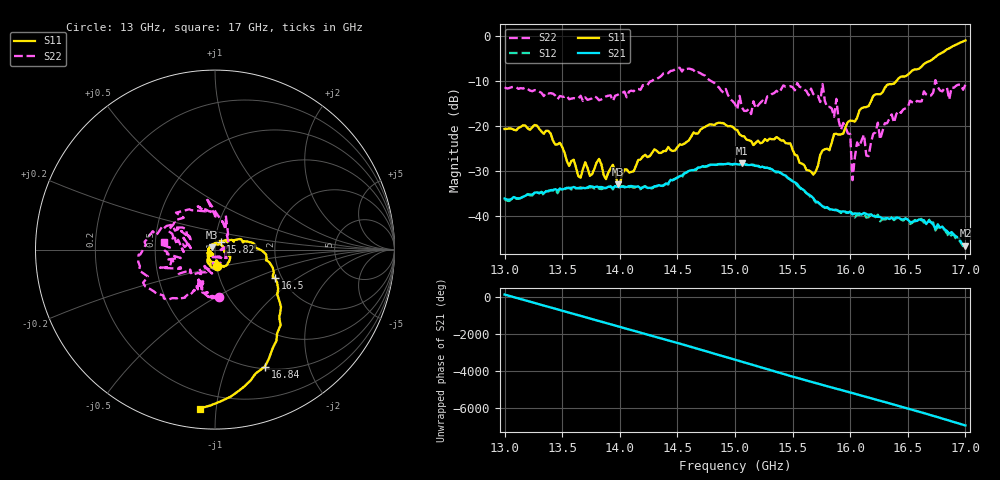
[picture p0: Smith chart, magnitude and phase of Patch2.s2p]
!Keysight Technologies,P9374A,MY57211810,A.19.30.04
!Date: Friday, May 09, 2025 09:01:41
!Correction: S11(Cdelta 2-Port  )
!S21(Cdelta 2-Port  )
!S12(Cdelta 2-Port  )
!S22(Cdelta 2-Port  )
!S2P File: Measurements: S11, S21, S12, S22:
# Hz S  dB  R 50
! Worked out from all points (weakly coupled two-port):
!   201 points, 13 GHz to 17 GHz, reference 50 ohm
!   highest |S21| = -28.35 dB at 15.06 GHz (marker M1); lowest = -46.6 dB at 17 GHz (marker M2)
!   lowest |S11| = -33.0 dB at 13.98 GHz (marker M3), VSWR 1.05, Z = 48.1 + j1.19 ohm
!   |S11| at or under -10 dB: start of sweep to 16.4 GHz
!   |S22| runs from -32.1 to -7.1 dB; largest |S21 - S12| = 0.0018
!   S11 on the Smith chart (normalised r, x): 13 GHz: 1.00, -0.19; 15.82 GHz: 1.06, +0.09; 16.5 GHz: 1.84, -0.67; 16.84 GHz: 0.53, -1.38; 17 GHz: 0.11, -0.90
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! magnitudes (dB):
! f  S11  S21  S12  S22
! 13 GHz  -20.7  -36.1  -36.4  -11.4
! 13.38 GHz  -21.1  -34.4  -34.6  -12.8
! 13.68 GHz  -29.6  -33.8  -33.9  -14.5
! 13.94 GHz  -28.6  -33.8  -34.1  -14.4
! 13.98 GHz  -33.0  -33.6  -33.4  -13.1
! 14.34 GHz  -26.0  -33.2  -33.2  -9.3
! 14.62 GHz  -22.4  -29.9  -29.8  -7.4
! 15 GHz  -20.8  -28.4  -28.5  -15.1
! 15.06 GHz  -22.3  -28.4  -28.4  -15.9
! 15.48 GHz  -23.9  -31.9  -31.9  -11.2
! 15.68 GHz  -30.8  -36.1  -36.2  -12.9
! 15.76 GHz  -25.5  -37.9  -37.7  -10.7
! 15.82 GHz  -25.4  -38.5  -38.5  -15.8
! 15.88 GHz  -21.8  -38.7  -38.6  -14.0
! 16 GHz  -18.8  -39.0  -39.1  -21.8
! 16.02 GHz  -18.9  -39.7  -39.4  -32.1
! 16.06 GHz  -18.2  -39.5  -39.7  -23.7
! 16.16 GHz  -15.6  -39.8  -40.3  -26.7
! 16.34 GHz  -10.7  -40.7  -40.6  -18.4
! 16.5 GHz  -8.7  -40.8  -40.8  -15.8
! 16.84 GHz  -3.0  -43.4  -43.9  -11.6
! 17 GHz  -1.0  -46.6  -46.4  -10.9
